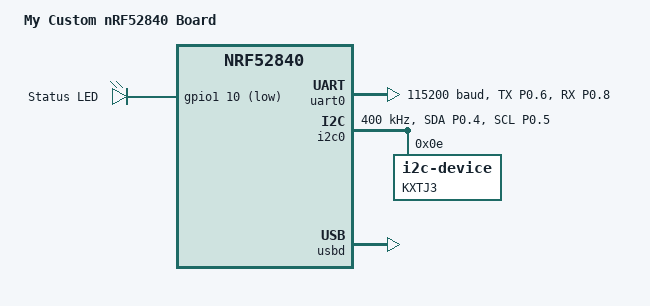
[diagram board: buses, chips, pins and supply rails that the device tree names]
/dts-v1/;
#include <nordic/nrf52840_qiaa.dtsi>
#include <zephyr/dt-bindings/gpio/gpio.h>
#include <zephyr/dt-bindings/i2c/i2c.h>

/*
 * Custom PCB board definition — nRF52840 + KXTJ3-1057 accelerometer
 *
 * !! Update pin numbers to match YOUR schematic before building !!
 *
 * Default pin assignments used here:
 *   UART TX  : P0.06
 *   UART RX  : P0.08
 *   I2C SDA  : P0.04   (KXTJ3 SDA)
 *   I2C SCL  : P0.05   (KXTJ3 SCL)
 *   Status LED: P1.10  (active-low)
 */

/ {
	model = "My Custom nRF52840 Board";
	compatible = "my-company,my-custom-board";

	chosen {
		zephyr,console    = &uart0;
		zephyr,shell-uart = &uart0;
		zephyr,sram       = &sram0;
		zephyr,flash      = &flash0;
	};

	leds {
		compatible = "gpio-leds";
		led0: led_0 {
			/* Status LED — update pin to match schematic */
			gpios = <&gpio1 10 GPIO_ACTIVE_LOW>;
			label = "Status LED";
		};
	};

	aliases {
		led0 = &led0;
	};
};

&pinctrl {
	uart0_default: uart0_default {
		group1 {
			/* Update TX/RX pins to match schematic */
			psels = <NRF_PSEL(UART_TX, 0, 6)>,
				<NRF_PSEL(UART_RX, 0, 8)>;
		};
	};
	uart0_sleep: uart0_sleep {
		group1 {
			psels = <NRF_PSEL(UART_TX, 0, 6)>,
				<NRF_PSEL(UART_RX, 0, 8)>;
			low-power-enable;
		};
	};

	i2c0_default: i2c0_default {
		group1 {
			/*
			 * Update SDA/SCL pins to match KXTJ3 routing on schematic.
			 * P0.04 = SDA, P0.05 = SCL used here as an example.
			 */
			psels = <NRF_PSEL(TWIM_SDA, 0, 4)>,
				<NRF_PSEL(TWIM_SCL, 0, 5)>;
		};
	};
	i2c0_sleep: i2c0_sleep {
		group1 {
			psels = <NRF_PSEL(TWIM_SDA, 0, 4)>,
				<NRF_PSEL(TWIM_SCL, 0, 5)>;
			low-power-enable;
		};
	};
};

&uart0 {
	status = "okay";
	compatible = "nordic,nrf-uarte";
	current-speed = <115200>;
	pinctrl-0 = <&uart0_default>;
	pinctrl-1 = <&uart0_sleep>;
	pinctrl-names = "default", "sleep";
};

&i2c0 {
	status = "okay";
	pinctrl-0 = <&i2c0_default>;
	pinctrl-1 = <&i2c0_sleep>;
	pinctrl-names = "default", "sleep";
	clock-frequency = <I2C_BITRATE_FAST>;

	/*
	 * KXTJ3-1057 accelerometer is soldered to this PCB.
	 * Address 0x0E = ADDR pin tied to GND.
	 * Change to <0x0f> if ADDR pin is tied to VDD.
	 */
	kxtj3: kxtj3@e {
		compatible = "i2c-device";
		reg = <0x0e>;
		label = "KXTJ3";
	};
};

&gpio0 { status = "okay"; };
&gpio1 { status = "okay"; };

/* USB — nRF52840 has a built-in USB full-speed controller */
&usbd {
	compatible = "nordic,nrf-usbd";
	status = "okay";
};
